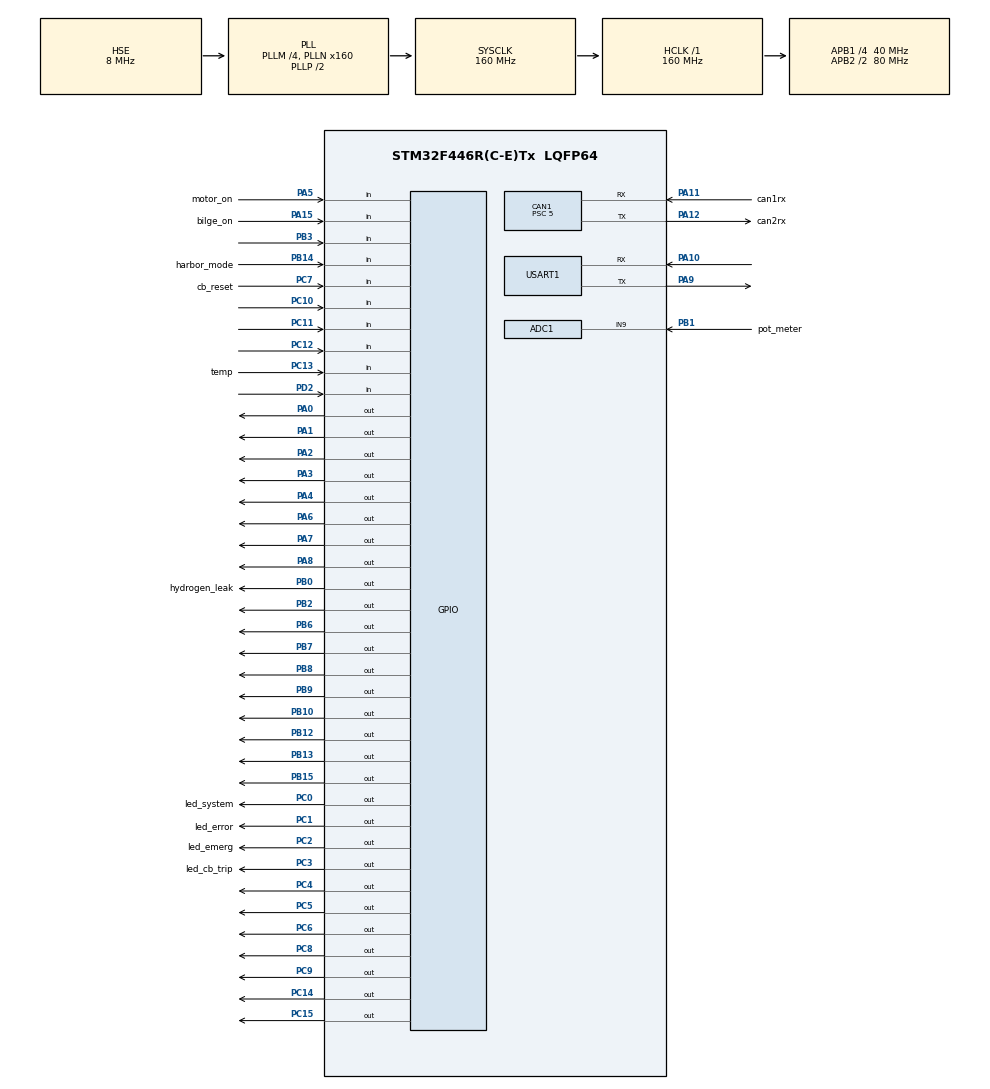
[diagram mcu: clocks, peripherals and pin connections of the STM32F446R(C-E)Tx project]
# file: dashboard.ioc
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Mcu.Family=STM32F4
NVIC.CAN1_RX1_IRQn=true\:0\:0\:false\:false\:true\:true\:true
PH0-OSC_IN.Signal=RCC_OSC_IN
RCC.CortexFreq_Value=160000000
CAN1.AWUM=ENABLE
PC10.Signal=GPIO_Input
PC12.Signal=GPIO_Input
PB14.GPIO_Label=harbor_mode
PC0.GPIO_Label=led_system
PA11.Mode=CAN_Activate
PB0.GPIO_Label=hydrogen_leak
PC13.GPIO_Label=temp
PB13.Signal=GPIO_Output
PB15.Signal=GPIO_Output
RCC.SYSCLKSource=RCC_SYSCLKSOURCE_PLLCLK
ProjectManager.StackSize=0x400
PA15.GPIO_Label=bilge_on
PA12.Signal=CAN1_TX
NVIC.CAN1_TX_IRQn=true\:0\:0\:false\:false\:true\:true\:true
RCC.HCLKFreq_Value=160000000
RCC.APB2TimFreq_Value=160000000
PB6.Signal=GPIO_Output
PC7.Signal=GPIO_Input
PC3.Signal=GPIO_Output
RCC.AHBFreq_Value=160000000
PH0-OSC_IN.Mode=HSE-External-Oscillator
PH0-OSC_IN.GPIO_Label=osc_in
RCC.HSE_VALUE=8000000
PB2.Signal=GPIO_Output
PA14.Mode=Serial_Wire
PB1.GPIO_Label=pot_meter
PB7.Signal=GPIO_Output
PA8.Signal=GPIO_Output
PH1-OSC_OUT.Mode=HSE-External-Oscillator
CAN1.Prescaler=5
Mcu.Package=LQFP64
PB9.Signal=GPIO_Output
PB1.Signal=ADCx_IN9
PA6.Signal=GPIO_Output
PA10.Signal=USART1_RX
PA15.Signal=GPIO_Input
SH.ADCx_IN9.0=ADC1_IN9,IN9
RCC.APB2CLKDivider=RCC_HCLK_DIV2
RCC.APB1TimFreq_Value=80000000
PC5.Signal=GPIO_Output
CAN1.CalculateTimeBit=2000.00
PC2.GPIO_Label=led_emerg
PA3.Signal=GPIO_Output
CAN1.CalculateTimeQuantum=125.0
RCC.PLLSourceVirtual=RCC_PLLSOURCE_HSE
PA10.Mode=Asynchronous
PC11.Signal=GPIO_Input
PC13.Signal=GPIO_Input
CAN1.CalculateBaudRate=500000
PC8.Signal=GPIO_Output
PC2.Signal=GPIO_Output
PC4.Signal=GPIO_Output
PC6.Signal=GPIO_Output
PA11.GPIO_Label=can1rx
PC0.Signal=GPIO_Output
RCC.APB1CLKDivider=RCC_HCLK_DIV4
PC14-OSC32_IN.Signal=GPIO_Output
PA12.GPIO_Label=can2rx
PA0-WKUP.Signal=GPIO_Output
PA13.Signal=SYS_JTMS-SWDIO
PA9.Mode=Asynchronous
CAN1.BS2=CAN_BS2_2TQ
CAN1.BS1=CAN_BS1_13TQ
ProjectManager.TargetToolchain=STM32CubeIDE
PA9.Signal=USART1_TX
ADC1.Channel-1\#ChannelRegularConversion=ADC_CHANNEL_9
RCC.USBFreq_Value=160000000
PC15-OSC32_OUT.Signal=GPIO_Output
PA1.Signal=GPIO_Output
CAN1.ABOM=ENABLE
PB10.Signal=GPIO_Output
PB14.Signal=GPIO_Input
PA5.Signal=GPIO_Input
board=custom
RCC.VCOOutputFreq_Value=320000000
RCC.APB2Freq_Value=80000000
PC1.GPIO_Label=led_error
PH1-OSC_OUT.Signal=RCC_OSC_OUT
PH1-OSC_OUT.GPIO_Label=osc_out
PA13.Mode=Serial_Wire
Mcu.Name=STM32F446R(C-E)Tx
PA2.Signal=GPIO_Output
PC7.GPIO_Label=cb_reset
PB3.Signal=GPIO_Input
PA4.Signal=GPIO_Output
ADC1.SamplingTime-1\#ChannelRegularConversion=ADC_SAMPLETIME_3CYCLES
RCC.SYSCLKFreq_VALUE=160000000
ADC1.master=1
PA12.Mode=CAN_Activate
PA5.GPIO_Label=motor_on
USART1.VirtualMode=VM_ASYNC
ADC1.Rank-1\#ChannelRegularConversion=1
PA11.Signal=CAN1_RX
PA14.Signal=SYS_JTCK-SWCLK
ProjectManager.HeapSize=0x200
NVIC.PriorityGroup=NVIC_PRIORITYGROUP_4
ADC1.NbrOfConversionFlag=1
RCC.PLLM=4
RCC.PLLN=160
PB8.Signal=GPIO_Output
PC3.GPIO_Label=led_cb_trip
PC9.Signal=GPIO_Output
PD2.Signal=GPIO_Input
RCC.APB1Freq_Value=40000000
PB0.Signal=GPIO_Output
PC1.Signal=GPIO_Output
PB12.Signal=GPIO_Output
NVIC.CAN1_RX0_IRQn=true\:0\:0\:false\:false\:true\:true\:true
PA7.Signal=GPIO_Output

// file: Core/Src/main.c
/* USER CODE BEGIN Header */
/**
  ******************************************************************************
  * @file           : main.c
  * @brief          : Main program body
  ******************************************************************************
  * @attention
  *
  * <h2><center>&copy; Copyright (c) 2021 STMicroelectronics.
  * All rights reserved.</center></h2>
  *
  * This software component is licensed by ST under BSD 3-Clause license,
  * the "License"; You may not use this file except in compliance with the
  * License. You may obtain a copy of the License at:
  *                        opensource.org/licenses/BSD-3-Clause
  *
  ******************************************************************************
  */
/* USER CODE END Header */
#include "main.h"

/* USER CODE BEGIN Includes */
#include "button_input.h"
#include "can.h"
#include "LEDS.h"
/* USER CODE END Includes */

ADC_HandleTypeDef hadc1;

CAN_HandleTypeDef hcan1;

UART_HandleTypeDef huart1;

void SystemClock_Config(void);
static void MX_GPIO_Init(void);
static void MX_ADC1_Init(void);
static void MX_USART1_UART_Init(void);
static void MX_CAN1_Init(void);

int main(void)
{

  /* MCU Configuration--------------------------------------------------------*/

  /* Reset of all peripherals, Initializes the Flash interface and the Systick. */
  HAL_Init();

  /* Configure the system clock */
  SystemClock_Config();

  /* Initialize all configured peripherals */
  MX_GPIO_Init();
  MX_ADC1_Init();
  MX_USART1_UART_Init();
  MX_CAN1_Init();
  /* USER CODE BEGIN 2 */

  Toggle_Green_LED(1); //turn on green led

  CAN_TxHeaderTypeDef CAN1TxHeader;    // set up the transmission can message for the buttons
  CAN1TxHeader.ExtId = 0x01;
  CAN1TxHeader.IDE = CAN_ID_STD;
  CAN1TxHeader.RTR = CAN_RTR_DATA;
  CAN1TxHeader.TransmitGlobalTime = DISABLE;
  CAN1TxHeader.StdId = can_msg_tx_dashboard_Buttons_id;
  CAN1TxHeader.DLC = 2;

  uint8_t data[2];
  uint8_t button_status[2] = {read_buttons(), read_bulgepump_buttons()}; // TODO implement a function to read the bulgepump
  /* USER CODE END 2 */

  /* Infinite loop */
  /* USER CODE BEGIN WHILE */
  while (1){
	  button_status[0] = read_buttons();
	  button_status[1] = read_bulgepump_buttons(); 			// read the buttons
	  if(CheckSendMessage(button_status[0] != data[0] || button_status[1] != data[1]))				// check if the button status has changed OR 200 milliseconds have passed
	  {
		  data[0] = button_status[0];			// load the new setting
		  data[1] =  button_status[1];
		  if(HAL_CAN_AddTxMessage(&hcan1, &CAN1TxHeader, data, (uint32_t *)CAN_TX_MAILBOX0) != HAL_OK) //transmit signal
		  {
			  Error_Handler();
		  }
		  else
		  {
			  Blink_Yellow_LED(50); //blink if succes
		  }
	  }

	   //read can messages these are generated in the HAL interrupt .c file

	  if((can_msg_rx_hydrogenAlarm_data[0] > 120) || (rr_hydrogenAlarm_timeout == 1))	// if the last bit of the can message is 1
		  {
			HAL_GPIO_WritePin(GPIOB, GPIO_PIN_0, 1);	// turn on the speaker
			Toggle_Red_LED(1);
		  }
	  else
	  {
			HAL_GPIO_WritePin(GPIOB, GPIO_PIN_0, 0); // turn of the speaker
			Toggle_Red_LED(0);
	  }

	  if((can_msg_rx_hydrogenAlarm2_data[0] > 120) || (rr_hydrogenAlarm2_timeout == 1))	// if the last bit of the can message is 1
		  {
			HAL_GPIO_WritePin(GPIOB, GPIO_PIN_0, 1);	// turn on the speaker
			Toggle_Red_LED(1);
		  }
	  else
	  {
			HAL_GPIO_WritePin(GPIOB, GPIO_PIN_0, 0); // turn of the speaker
			Toggle_Red_LED(0);
	  }

	  if(rr_WC_handle == 1)
	  {
		  rr_WC_handle = 0;
		  if((can_msg_rx_WC_data[0] & 0b00000001) == 0b00000001) // if the last bit of the can message is 1
		  {
			  HAL_GPIO_WritePin(GPIOC, GPIO_PIN_3, 1); //turn the CB led on
		  }
		  else{
			  HAL_GPIO_WritePin(GPIOC, GPIO_PIN_3, 0); // turn the CB le off
		  }
	  }
    /* USER CODE END WHILE */

    }
}

void SystemClock_Config(void)
{
  RCC_OscInitTypeDef RCC_OscInitStruct = {0};
  RCC_ClkInitTypeDef RCC_ClkInitStruct = {0};

  /** Configure the main internal regulator output voltage
  */
  __HAL_RCC_PWR_CLK_ENABLE();
  __HAL_PWR_VOLTAGESCALING_CONFIG(PWR_REGULATOR_VOLTAGE_SCALE1);
  /** Initializes the RCC Oscillators according to the specified parameters
  * in the RCC_OscInitTypeDef structure.
  */
  RCC_OscInitStruct.OscillatorType = RCC_OSCILLATORTYPE_HSE;
  RCC_OscInitStruct.HSEState = RCC_HSE_ON;
  RCC_OscInitStruct.PLL.PLLState = RCC_PLL_ON;
  RCC_OscInitStruct.PLL.PLLSource = RCC_PLLSOURCE_HSE;
  RCC_OscInitStruct.PLL.PLLM = 4;
  RCC_OscInitStruct.PLL.PLLN = 160;
  RCC_OscInitStruct.PLL.PLLP = RCC_PLLP_DIV2;
  RCC_OscInitStruct.PLL.PLLQ = 2;
  RCC_OscInitStruct.PLL.PLLR = 2;
  if (HAL_RCC_OscConfig(&RCC_OscInitStruct) != HAL_OK)
  {
    Error_Handler();
  }
  /** Initializes the CPU, AHB and APB buses clocks
  */
  RCC_ClkInitStruct.ClockType = RCC_CLOCKTYPE_HCLK|RCC_CLOCKTYPE_SYSCLK
                              |RCC_CLOCKTYPE_PCLK1|RCC_CLOCKTYPE_PCLK2;
  RCC_ClkInitStruct.SYSCLKSource = RCC_SYSCLKSOURCE_PLLCLK;
  RCC_ClkInitStruct.AHBCLKDivider = RCC_SYSCLK_DIV1;
  RCC_ClkInitStruct.APB1CLKDivider = RCC_HCLK_DIV4;
  RCC_ClkInitStruct.APB2CLKDivider = RCC_HCLK_DIV2;

  if (HAL_RCC_ClockConfig(&RCC_ClkInitStruct, FLASH_LATENCY_5) != HAL_OK)
  {
    Error_Handler();
  }
}

static void MX_ADC1_Init(void)
{

  ADC_ChannelConfTypeDef sConfig = {0};

  /** Configure the global features of the ADC (Clock, Resolution, Data Alignment and number of conversion)
  */
  hadc1.Instance = ADC1;
  hadc1.Init.ClockPrescaler = ADC_CLOCK_SYNC_PCLK_DIV4;
  hadc1.Init.Resolution = ADC_RESOLUTION_12B;
  hadc1.Init.ScanConvMode = DISABLE;
  hadc1.Init.ContinuousConvMode = DISABLE;
  hadc1.Init.DiscontinuousConvMode = DISABLE;
  hadc1.Init.ExternalTrigConvEdge = ADC_EXTERNALTRIGCONVEDGE_NONE;
  hadc1.Init.ExternalTrigConv = ADC_SOFTWARE_START;
  hadc1.Init.DataAlign = ADC_DATAALIGN_RIGHT;
  hadc1.Init.NbrOfConversion = 1;
  hadc1.Init.DMAContinuousRequests = DISABLE;
  hadc1.Init.EOCSelection = ADC_EOC_SINGLE_CONV;
  if (HAL_ADC_Init(&hadc1) != HAL_OK)
  {
    Error_Handler();
  }
  /** Configure for the selected ADC regular channel its corresponding rank in the sequencer and its sample time.
  */
  sConfig.Channel = ADC_CHANNEL_9;
  sConfig.Rank = 1;
  sConfig.SamplingTime = ADC_SAMPLETIME_3CYCLES;
  if (HAL_ADC_ConfigChannel(&hadc1, &sConfig) != HAL_OK)
  {
    Error_Handler();
  }

}

static void MX_CAN1_Init(void)
{

  hcan1.Instance = CAN1;
  hcan1.Init.Prescaler = 5;
  hcan1.Init.Mode = CAN_MODE_NORMAL;
  hcan1.Init.SyncJumpWidth = CAN_SJW_1TQ;
  hcan1.Init.TimeSeg1 = CAN_BS1_13TQ;
  hcan1.Init.TimeSeg2 = CAN_BS2_2TQ;
  hcan1.Init.TimeTriggeredMode = DISABLE;
  hcan1.Init.AutoBusOff = ENABLE;
  hcan1.Init.AutoWakeUp = ENABLE;
  hcan1.Init.AutoRetransmission = DISABLE;
  hcan1.Init.ReceiveFifoLocked = DISABLE;
  hcan1.Init.TransmitFifoPriority = DISABLE;
  if (HAL_CAN_Init(&hcan1) != HAL_OK)
  {
    Error_Handler();
  }
  /* USER CODE BEGIN CAN1_Init 2 */
	// Configure the CAN filter to accept all messages (filter is necessary to get Rx to work)
	CAN_FilterTypeDef sFilterConfig;

	sFilterConfig.FilterBank = 0;
	sFilterConfig.FilterMode = CAN_FILTERMODE_IDMASK;
	sFilterConfig.FilterScale = CAN_FILTERSCALE_32BIT;
	sFilterConfig.FilterIdHigh = 0x0000;
	sFilterConfig.FilterIdLow = 0x0000;
	sFilterConfig.FilterMaskIdHigh = 0x0000;
	sFilterConfig.FilterMaskIdLow = 0x0000;
	sFilterConfig.FilterFIFOAssignment = CAN_RX_FIFO0;
	sFilterConfig.FilterActivation = ENABLE;
	sFilterConfig.SlaveStartFilterBank = 0;
	if (HAL_CAN_ConfigFilter(&hcan1, &sFilterConfig) != HAL_OK) {
		Error_Handler();
	}
	if (HAL_CAN_Start(&hcan1) != HAL_OK) // Start the CAN1 module
			{
		Error_Handler();
	}

	if (HAL_CAN_ActivateNotification(&hcan1, CAN_IT_RX_FIFO0_MSG_PENDING)
			!= HAL_OK) // Activates CAN1 RX0 interrupt
		Error_Handler();

	if (HAL_CAN_ActivateNotification(&hcan1, CAN_IT_TX_MAILBOX_EMPTY) != HAL_OK)
		Error_Handler();
  /* USER CODE END CAN1_Init 2 */

}

static void MX_USART1_UART_Init(void)
{

  huart1.Instance = USART1;
  huart1.Init.BaudRate = 115200;
  huart1.Init.WordLength = UART_WORDLENGTH_8B;
  huart1.Init.StopBits = UART_STOPBITS_1;
  huart1.Init.Parity = UART_PARITY_NONE;
  huart1.Init.Mode = UART_MODE_TX_RX;
  huart1.Init.HwFlowCtl = UART_HWCONTROL_NONE;
  huart1.Init.OverSampling = UART_OVERSAMPLING_16;
  if (HAL_UART_Init(&huart1) != HAL_OK)
  {
    Error_Handler();
  }

}

static void MX_GPIO_Init(void)
{
  GPIO_InitTypeDef GPIO_InitStruct = {0};

  /* GPIO Ports Clock Enable */
  __HAL_RCC_GPIOC_CLK_ENABLE();
  __HAL_RCC_GPIOH_CLK_ENABLE();
  __HAL_RCC_GPIOA_CLK_ENABLE();
  __HAL_RCC_GPIOB_CLK_ENABLE();
  __HAL_RCC_GPIOD_CLK_ENABLE();

  /*Configure GPIO pin Output Level */
  HAL_GPIO_WritePin(GPIOC, GPIO_PIN_14|GPIO_PIN_15|led_system_Pin|led_error_Pin
                          |led_emerg_Pin|led_cb_trip_Pin|GPIO_PIN_4|GPIO_PIN_5
                          |GPIO_PIN_6|GPIO_PIN_8|GPIO_PIN_9, GPIO_PIN_RESET);

  /*Configure GPIO pin Output Level */
  HAL_GPIO_WritePin(GPIOA, GPIO_PIN_0|GPIO_PIN_1|GPIO_PIN_2|GPIO_PIN_3
                          |GPIO_PIN_4|GPIO_PIN_6|GPIO_PIN_7|GPIO_PIN_8, GPIO_PIN_RESET);

  /*Configure GPIO pin Output Level */
  HAL_GPIO_WritePin(GPIOB, hydrogen_leak_Pin|GPIO_PIN_2|GPIO_PIN_10|GPIO_PIN_12
                          |GPIO_PIN_13|GPIO_PIN_15|GPIO_PIN_6|GPIO_PIN_7
                          |GPIO_PIN_8|GPIO_PIN_9, GPIO_PIN_RESET);

  /*Configure GPIO pins : temp_Pin cb_reset_Pin PC10 PC11
                           PC12 */
  GPIO_InitStruct.Pin = temp_Pin|cb_reset_Pin|GPIO_PIN_10|GPIO_PIN_11
                          |GPIO_PIN_12;
  GPIO_InitStruct.Mode = GPIO_MODE_INPUT;
  GPIO_InitStruct.Pull = GPIO_NOPULL;
  HAL_GPIO_Init(GPIOC, &GPIO_InitStruct);

  /*Configure GPIO pins : PC14 PC15 led_system_Pin led_error_Pin
                           led_emerg_Pin led_cb_trip_Pin PC4 PC5
                           PC6 PC8 PC9 */
  GPIO_InitStruct.Pin = GPIO_PIN_14|GPIO_PIN_15|led_system_Pin|led_error_Pin
                          |led_emerg_Pin|led_cb_trip_Pin|GPIO_PIN_4|GPIO_PIN_5
                          |GPIO_PIN_6|GPIO_PIN_8|GPIO_PIN_9;
  GPIO_InitStruct.Mode = GPIO_MODE_OUTPUT_PP;
  GPIO_InitStruct.Pull = GPIO_NOPULL;
  GPIO_InitStruct.Speed = GPIO_SPEED_FREQ_LOW;
  HAL_GPIO_Init(GPIOC, &GPIO_InitStruct);

  /*Configure GPIO pins : PA0 PA1 PA2 PA3
                           PA4 PA6 PA7 PA8 */
  GPIO_InitStruct.Pin = GPIO_PIN_0|GPIO_PIN_1|GPIO_PIN_2|GPIO_PIN_3
                          |GPIO_PIN_4|GPIO_PIN_6|GPIO_PIN_7|GPIO_PIN_8;
  GPIO_InitStruct.Mode = GPIO_MODE_OUTPUT_PP;
  GPIO_InitStruct.Pull = GPIO_NOPULL;
  GPIO_InitStruct.Speed = GPIO_SPEED_FREQ_LOW;
  HAL_GPIO_Init(GPIOA, &GPIO_InitStruct);

  /*Configure GPIO pins : motor_on_Pin bilge_on_Pin */
  GPIO_InitStruct.Pin = motor_on_Pin|bilge_on_Pin;
  GPIO_InitStruct.Mode = GPIO_MODE_INPUT;
  GPIO_InitStruct.Pull = GPIO_NOPULL;
  HAL_GPIO_Init(GPIOA, &GPIO_InitStruct);

  /*Configure GPIO pins : hydrogen_leak_Pin PB2 PB10 PB12
                           PB13 PB15 PB6 PB7
                           PB8 PB9 */
  GPIO_InitStruct.Pin = hydrogen_leak_Pin|GPIO_PIN_2|GPIO_PIN_10|GPIO_PIN_12
                          |GPIO_PIN_13|GPIO_PIN_15|GPIO_PIN_6|GPIO_PIN_7
                          |GPIO_PIN_8|GPIO_PIN_9;
  GPIO_InitStruct.Mode = GPIO_MODE_OUTPUT_PP;
  GPIO_InitStruct.Pull = GPIO_NOPULL;
  GPIO_InitStruct.Speed = GPIO_SPEED_FREQ_LOW;
  HAL_GPIO_Init(GPIOB, &GPIO_InitStruct);

  /*Configure GPIO pins : harbor_mode_Pin PB3 */
  GPIO_InitStruct.Pin = harbor_mode_Pin|GPIO_PIN_3;
  GPIO_InitStruct.Mode = GPIO_MODE_INPUT;
  GPIO_InitStruct.Pull = GPIO_NOPULL;
  HAL_GPIO_Init(GPIOB, &GPIO_InitStruct);

  /*Configure GPIO pin : PD2 */
  GPIO_InitStruct.Pin = GPIO_PIN_2;
  GPIO_InitStruct.Mode = GPIO_MODE_INPUT;
  GPIO_InitStruct.Pull = GPIO_NOPULL;
  HAL_GPIO_Init(GPIOD, &GPIO_InitStruct);

}

void Error_Handler(void)
{
  /* USER CODE BEGIN Error_Handler_Debug */

  /* User can add his own implementation to report the HAL error return state */
  __disable_irq();
  while (1)
  {
	  Toggle_Red_LED(1);
	  HAL_Delay(100);
	  Toggle_Red_LED(0);
  }
  /* USER CODE END Error_Handler_Debug */
}

/************************ (C) COPYRIGHT STMicroelectronics *****END OF FILE****/
